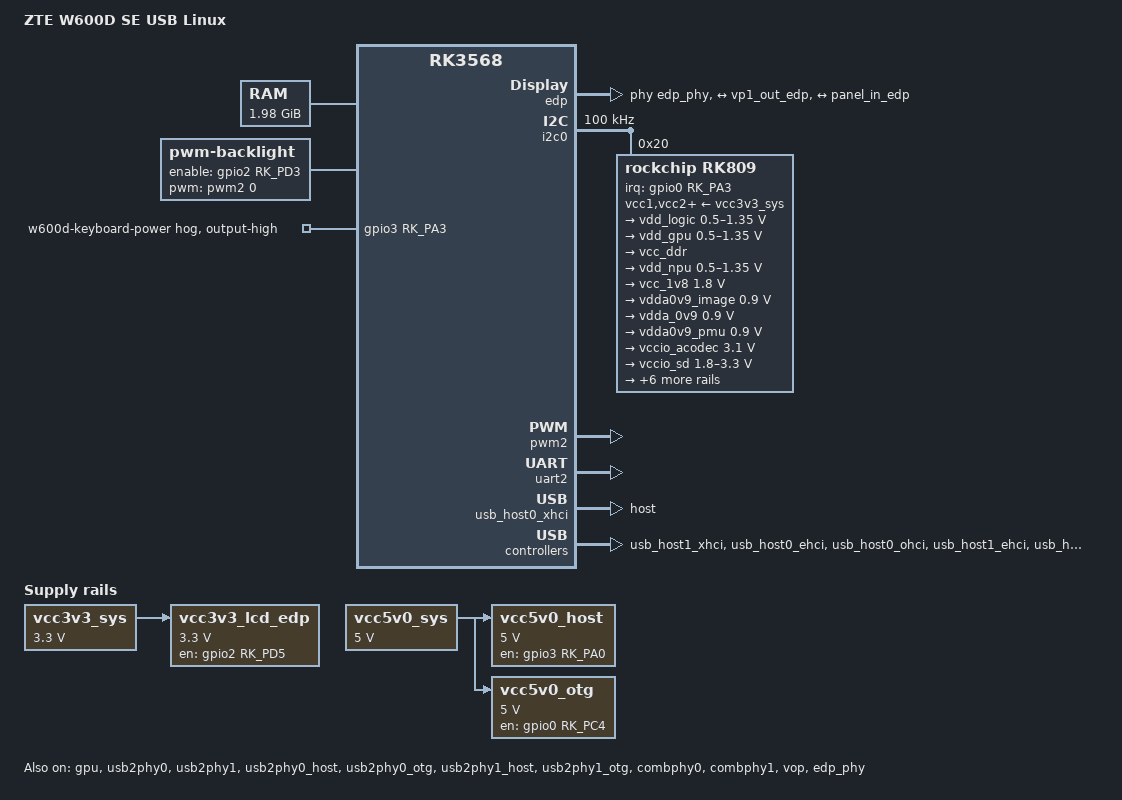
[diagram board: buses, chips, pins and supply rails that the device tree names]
/dts-v1/;

#include <dt-bindings/gpio/gpio.h>
#include <dt-bindings/interrupt-controller/arm-gic.h>
#include <dt-bindings/pinctrl/rockchip.h>
#include <dt-bindings/power/rk3568-power.h>
#include "rk3568.dtsi"

/ {
	model = "ZTE W600D SE USB Linux";
	compatible = "zte,w600d-se", "rockchip,rk3568";

	aliases {
		serial2 = &uart2;
	};

	chosen: chosen {
		stdout-path = "serial2:115200n8";
	};

	memory@0 {
		device_type = "memory";
		reg = <0 0x00200000 0 0x08200000>,
		      <0 0x09400000 0 0x76c00000>;
	};

	vcc3v3_sys: vcc3v3-sys {
		compatible = "regulator-fixed";
		regulator-name = "vcc3v3_sys";
		regulator-min-microvolt = <3300000>;
		regulator-max-microvolt = <3300000>;
		regulator-always-on;
		regulator-boot-on;
	};

	vcc5v0_sys: vcc5v0-sys {
		compatible = "regulator-fixed";
		regulator-name = "vcc5v0_sys";
		regulator-min-microvolt = <5000000>;
		regulator-max-microvolt = <5000000>;
		regulator-always-on;
		regulator-boot-on;
	};

	vcc5v0_host: vcc5v0-host-regulator {
		compatible = "regulator-fixed";
		regulator-name = "vcc5v0_host";
		regulator-min-microvolt = <5000000>;
		regulator-max-microvolt = <5000000>;
		vin-supply = <&vcc5v0_sys>;
		gpio = <&gpio3 RK_PA0 GPIO_ACTIVE_HIGH>;
		enable-active-high;
		regulator-always-on;
		regulator-boot-on;
		pinctrl-names = "default";
		pinctrl-0 = <&vcc5v0_host_en>;
	};

	vcc5v0_otg: vcc5v0-otg-regulator {
		compatible = "regulator-fixed";
		regulator-name = "vcc5v0_otg";
		regulator-min-microvolt = <5000000>;
		regulator-max-microvolt = <5000000>;
		vin-supply = <&vcc5v0_sys>;
		gpio = <&gpio0 RK_PC4 GPIO_ACTIVE_HIGH>;
		enable-active-high;
		regulator-always-on;
		regulator-boot-on;
		pinctrl-names = "default";
		pinctrl-0 = <&vcc5v0_otg_en>;
	};

	vcc3v3_lcd_edp: vcc3v3-lcd-edp {
		compatible = "regulator-fixed";
		regulator-name = "vcc3v3_lcd_edp";
		regulator-min-microvolt = <3300000>;
		regulator-max-microvolt = <3300000>;
		vin-supply = <&vcc3v3_sys>;
		gpio = <&gpio2 RK_PD5 GPIO_ACTIVE_HIGH>;
		enable-active-high;
		regulator-boot-on;
		pinctrl-names = "default";
		pinctrl-0 = <&edp_power_en>;
	};

	backlight: backlight {
		compatible = "pwm-backlight";
		pwms = <&pwm2 0 25000 0>;
		enable-gpios = <&gpio2 RK_PD3 GPIO_ACTIVE_HIGH>;
		pinctrl-names = "default";
		pinctrl-0 = <&backlight_en>;
		brightness-levels = <0 255>;
		num-interpolated-steps = <255>;
		default-brightness-level = <200>;
	};

	edp_phy: edp-phy@fdcb0000 {
		compatible = "rockchip,rk3568-edp-phy";
		reg = <0 0xfdcb0000 0 0x8000>;
		clocks = <&pmucru XIN_OSC0_EDPPHY_G>, <&cru PCLK_EDPPHY_GRF>;
		clock-names = "refclk", "pclk";
		resets = <&cru SRST_P_EDPPHY_GRF>;
		reset-names = "apb";
		#phy-cells = <0>;
		status = "okay";
	};

	edp: edp@fe0c0000 {
		compatible = "rockchip,rk3568-edp";
		reg = <0 0xfe0c0000 0 0x10000>;
		interrupts = <GIC_SPI 18 IRQ_TYPE_LEVEL_HIGH>;
		clocks = <&pmucru XIN_OSC0_EDPPHY_G>, <&cru PCLK_EDP_CTRL>,
			 <&cru CLK_EDP_200M>, <&cru HCLK_VO>;
		clock-names = "dp", "pclk", "spdif", "hclk";
		resets = <&cru SRST_EDP_24M>, <&cru SRST_P_EDP_CTRL>;
		reset-names = "dp", "apb";
		phys = <&edp_phy>;
		phy-names = "dp";
		power-domains = <&power RK3568_PD_VO>;
		rockchip,grf = <&grf>;
		force-hpd;
		status = "okay";

		ports {
			#address-cells = <1>;
			#size-cells = <0>;
			port@0 {
				reg = <0>;
				edp_in_vp1: endpoint {
					remote-endpoint = <&vp1_out_edp>;
				};
			};
			port@1 {
				reg = <1>;
				edp_out_panel: endpoint {
					remote-endpoint = <&panel_in_edp>;
				};
			};
		};

		aux-bus {
			edp_panel: panel {
				compatible = "edp-panel";
				power-supply = <&vcc3v3_lcd_edp>;
				enable-gpios = <&gpio2 RK_PD4 GPIO_ACTIVE_HIGH>;
				pinctrl-names = "default";
				pinctrl-0 = <&edp_panel_en>;
				backlight = <&backlight>;
				no-hpd;
				hpd-absent-delay-ms = <200>;
				port {
					panel_in_edp: endpoint {
						remote-endpoint = <&edp_out_panel>;
					};
				};
			};
		};
	};
};

&gpio3 {
	keyboard-power-hog {
		gpio-hog;
		gpios = <RK_PA3 GPIO_ACTIVE_HIGH>;
		output-high;
		line-name = "w600d-keyboard-power";
	};
};

&i2c0 {
	status = "okay";
	clock-frequency = <100000>;
	rk809: pmic@20 {
		compatible = "rockchip,rk809";
		reg = <0x20>;
		interrupt-parent = <&gpio0>;
		interrupts = <RK_PA3 IRQ_TYPE_LEVEL_LOW>;
		pinctrl-names = "default";
		pinctrl-0 = <&pmic_int>;
		#clock-cells = <1>;
		clock-output-names = "rk808-clkout1", "rk808-clkout2";
		vcc1-supply = <&vcc3v3_sys>;
		vcc2-supply = <&vcc3v3_sys>;
		vcc3-supply = <&vcc3v3_sys>;
		vcc4-supply = <&vcc3v3_sys>;
		vcc5-supply = <&vcc3v3_sys>;
		vcc6-supply = <&vcc3v3_sys>;
		vcc7-supply = <&vcc3v3_sys>;
		vcc8-supply = <&vcc3v3_sys>;
		vcc9-supply = <&vcc3v3_sys>;

		regulators {
			vdd_logic: DCDC_REG1 {
				regulator-name = "vdd_logic";
				regulator-min-microvolt = <500000>;
				regulator-max-microvolt = <1350000>;
				regulator-ramp-delay = <6001>;
				regulator-always-on;
				regulator-boot-on;
			};
			vdd_gpu: DCDC_REG2 {
				regulator-name = "vdd_gpu";
				regulator-min-microvolt = <500000>;
				regulator-max-microvolt = <1350000>;
				regulator-ramp-delay = <6001>;
				regulator-always-on;
				regulator-boot-on;
			};
			vcc_ddr: DCDC_REG3 {
				regulator-name = "vcc_ddr";
				regulator-always-on;
				regulator-boot-on;
			};
			vdd_npu: DCDC_REG4 {
				regulator-name = "vdd_npu";
				regulator-min-microvolt = <500000>;
				regulator-max-microvolt = <1350000>;
				regulator-always-on;
				regulator-boot-on;
			};
			vcc_1v8: DCDC_REG5 {
				regulator-name = "vcc_1v8";
				regulator-min-microvolt = <1800000>;
				regulator-max-microvolt = <1800000>;
				regulator-always-on;
				regulator-boot-on;
			};
			vdda0v9_image: LDO_REG1 {
				regulator-name = "vdda0v9_image";
				regulator-min-microvolt = <900000>;
				regulator-max-microvolt = <900000>;
				regulator-always-on;
				regulator-boot-on;
			};
			vdda_0v9: LDO_REG2 {
				regulator-name = "vdda_0v9";
				regulator-min-microvolt = <900000>;
				regulator-max-microvolt = <900000>;
				regulator-always-on;
				regulator-boot-on;
			};
			vdda0v9_pmu: LDO_REG3 {
				regulator-name = "vdda0v9_pmu";
				regulator-min-microvolt = <900000>;
				regulator-max-microvolt = <900000>;
				regulator-always-on;
				regulator-boot-on;
			};
			vccio_acodec: LDO_REG4 {
				regulator-name = "vccio_acodec";
				regulator-min-microvolt = <3100000>;
				regulator-max-microvolt = <3100000>;
				regulator-always-on;
				regulator-boot-on;
			};
			vccio_sd: LDO_REG5 {
				regulator-name = "vccio_sd";
				regulator-min-microvolt = <1800000>;
				regulator-max-microvolt = <3300000>;
				regulator-always-on;
				regulator-boot-on;
			};
			vcc3v3_pmu: LDO_REG6 {
				regulator-name = "vcc3v3_pmu";
				regulator-min-microvolt = <3300000>;
				regulator-max-microvolt = <3300000>;
				regulator-always-on;
				regulator-boot-on;
			};
			vcca_1v8: LDO_REG7 {
				regulator-name = "vcca_1v8";
				regulator-min-microvolt = <1800000>;
				regulator-max-microvolt = <1800000>;
				regulator-always-on;
				regulator-boot-on;
			};
			vcca1v8_pmu: LDO_REG8 {
				regulator-name = "vcca1v8_pmu";
				regulator-min-microvolt = <1800000>;
				regulator-max-microvolt = <1800000>;
				regulator-always-on;
				regulator-boot-on;
			};
			vcca1v8_image: LDO_REG9 {
				regulator-name = "vcca1v8_image";
				regulator-min-microvolt = <1800000>;
				regulator-max-microvolt = <1800000>;
				regulator-always-on;
				regulator-boot-on;
			};
			vcc_3v3: SWITCH_REG1 {
				regulator-name = "vcc_3v3";
				regulator-always-on;
				regulator-boot-on;
			};
			vcc3v3_sd: SWITCH_REG2 {
				regulator-name = "vcc3v3_sd";
				regulator-always-on;
				regulator-boot-on;
			};
		};
	};
};

&gpu {
	mali-supply = <&vdd_gpu>;
	status = "okay";
};

&pwm2 {
	pinctrl-names = "default";
	pinctrl-0 = <&pwm2m1_pins>;
	status = "okay";
};

&uart2 {
	status = "okay";
};

&usb2phy0 { status = "okay"; };
&usb2phy1 { status = "okay"; };
&usb2phy0_host { phy-supply = <&vcc5v0_otg>; status = "okay"; };
&usb2phy0_otg { phy-supply = <&vcc5v0_otg>; status = "okay"; };
&usb2phy1_host { phy-supply = <&vcc5v0_host>; status = "okay"; };
&usb2phy1_otg { phy-supply = <&vcc5v0_host>; status = "okay"; };
&combphy0 { status = "okay"; };
&combphy1 { status = "okay"; };
&usb_host0_xhci { dr_mode = "host"; status = "okay"; };
&usb_host1_xhci { status = "okay"; };
&usb_host0_ehci { status = "okay"; };
&usb_host0_ohci { status = "okay"; };
&usb_host1_ehci { status = "okay"; };
&usb_host1_ohci { status = "okay"; };

&vop { status = "okay"; };
&vop_mmu { status = "okay"; };
&vp1 {
	vp1_out_edp: endpoint@3 {
		reg = <3>;
		remote-endpoint = <&edp_in_vp1>;
	};
};

&pinctrl {
	backlight {
		backlight_en: backlight-en {
			rockchip,pins = <2 RK_PD3 RK_FUNC_GPIO &pcfg_pull_none>;
		};
	};
	edp {
		edp_power_en: edp-power-en {
			rockchip,pins = <2 RK_PD5 RK_FUNC_GPIO &pcfg_pull_none>;
		};
		edp_panel_en: edp-panel-en {
			rockchip,pins = <2 RK_PD4 RK_FUNC_GPIO &pcfg_pull_none>;
		};
	};
	pmic {
		pmic_int: pmic-int {
			rockchip,pins = <0 RK_PA3 RK_FUNC_GPIO &pcfg_pull_up>;
		};
	};
	usb {
		vcc5v0_host_en: vcc5v0-host-en {
			rockchip,pins = <3 RK_PA0 RK_FUNC_GPIO &pcfg_pull_none>;
		};
		vcc5v0_otg_en: vcc5v0-otg-en {
			rockchip,pins = <0 RK_PC4 RK_FUNC_GPIO &pcfg_pull_none>;
		};
	};
};
